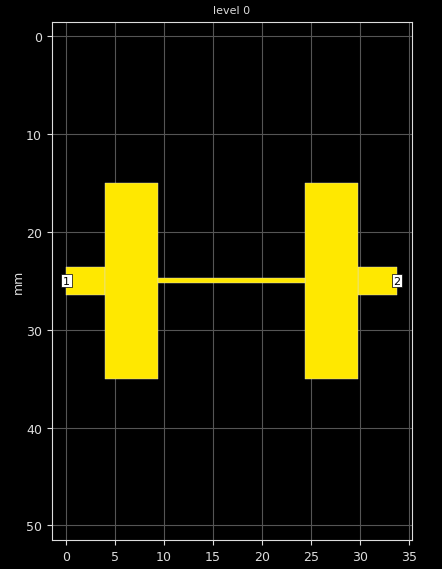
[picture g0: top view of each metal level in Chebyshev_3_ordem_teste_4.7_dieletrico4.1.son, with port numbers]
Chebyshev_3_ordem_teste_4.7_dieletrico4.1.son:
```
FTYP SONPROJ 13 ! Sonnet Project File
VER 15.53.lite
HEADER
LIC SL290709.106431 847bebfebdba DESKTOP-1CMJ3DP Arihe
DAT 06/18/2019 23:46:52
BUILT_BY_CREATED xgeom 15.53-Lite 04/13/2019 20:59:13
BUILT_BY_SAVED xgeom 15.53-Lite
MDATE 06/18/2019 23:46:52
HDATE 06/18/2019 23:46:52
END HEADER
DIM
FREQ GHZ
RSVY OHMM
IND NH
LNG MM
ANG DEG
CON /OH
CAP PF
RES OH
END DIM
FREQ
ABS 1.0e-9 3.0 
END FREQ
CONTROL
ABS
OPTIONS  -dj 
SPEED 0
CACHE_ABS 1
TARG_ABS 300
Q_ACC N
END CONTROL
GEO
DRP1 LEFT LINK
POLY 12 1
1
DRP1 RIGHT LINK
POLY 14 1
0
TMET "Lossless" 0 SUP 0 0 0 0
BMET "Lossless" 0 SUP 0 0 0 0
MET "Copper" 1 NOR 58000000 0 0.0347 
BOX 1 33.8 50 676 1000 20 0
      20 1 1 0 0 0 0 "Air"
      1.5306 4.1 1 0.02 0 0 0 "FR-4"
LORGN 0 50 U 
POR1 STD
POLY 12 1
3
1 50 0 0 0 3.166936935e-007 25 
POR1 STD
POLY 14 1
1
2 50 0 0 0 33.80000032 25 
NUM 5
0 5 0 N 12 1 1 100 100 0 0 0 Y
3.166936935e-007 23.6
4.000000317 23.6
4.000000317 26.4
3.166936935e-007 26.4
3.166936935e-007 23.6
END
0 5 0 N 14 1 1 100 100 0 0 0 Y
29.80000032 23.6
33.80000032 23.6
33.80000032 26.4
29.80000032 26.4
29.80000032 23.6
END
0 5 0 N 16 1 1 100 100 0 0 0 Y
4.000000317 15
9.400000317 15
9.400000317 35
4.000000317 35
4.000000317 15
END
0 5 0 N 17 1 1 100 100 0 0 0 Y
24.40000032 15
29.80000032 15
29.80000032 35
24.40000032 35
24.40000032 15
END
0 5 0 N 18 1 1 100 100 0 0 0 Y
9.400000317 24.75
24.40000032 24.75
24.40000032 25.25
9.400000317 25.25
9.400000317 24.75
END
END GEO
OPT
MAX 100
VARS
END
END OPT
VARSWP
END VARSWP
QSG
IMPORT NO
EXTRA_METAL NO
UNITS YES
ALIGN NO
REF NO
VIEW_RES NO
METALS YES
USED NO
END QSG
```
